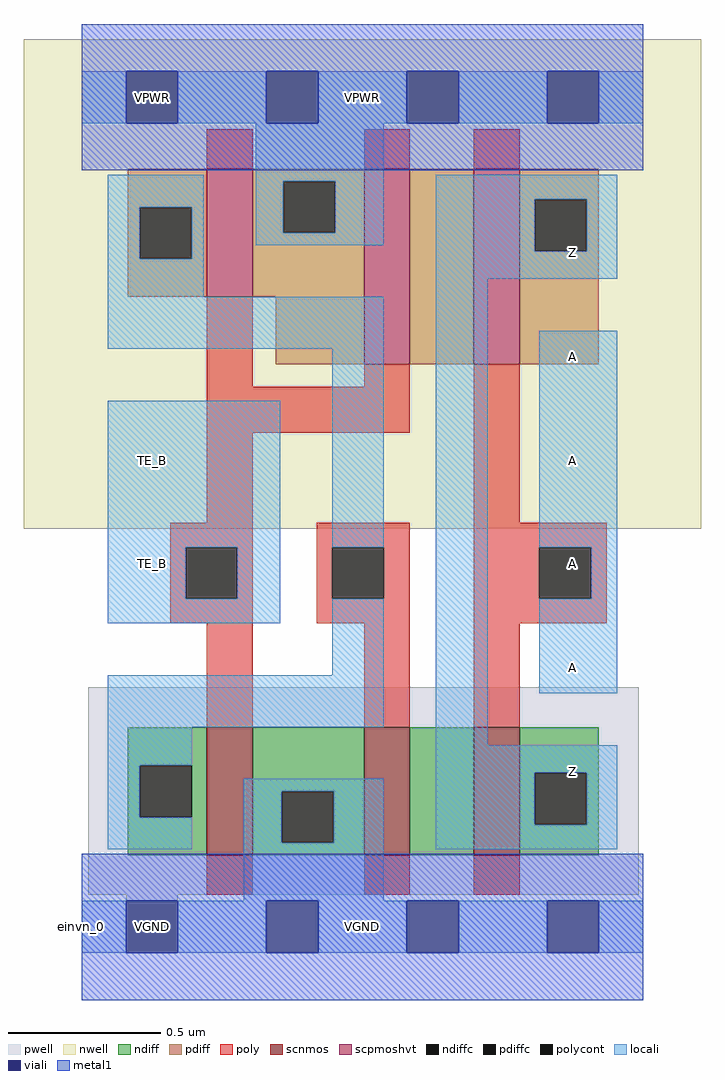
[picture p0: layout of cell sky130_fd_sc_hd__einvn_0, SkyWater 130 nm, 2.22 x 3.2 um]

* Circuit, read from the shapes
.subckt sky130_fd_sc_hd__einvn_0 A TE_B VGND VNB VPB VPWR Z
XM1 VGND TE_B n1 VNB sky130_fd_pr__nfet_01v8 w=0.42 l=0.15
XM2 n2 n1 VGND VNB sky130_fd_pr__nfet_01v8 w=0.42 l=0.15
XM3 Z A n2 VNB sky130_fd_pr__nfet_01v8 w=0.42 l=0.15
XM4 VPWR TE_B n1 VPB sky130_fd_pr__pfet_01v8_hvt w=0.42 l=0.15
XM5 n3 TE_B VPWR VPB sky130_fd_pr__pfet_01v8_hvt w=0.64 l=0.15
XM6 Z A n3 VPB sky130_fd_pr__pfet_01v8_hvt w=0.64 l=0.15
.ends

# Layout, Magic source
magic
tech sky130B
magscale 1 2
<< nwell >>
rect -38 261 406 582
<< pwell >>
rect 4 21 365 157
rect 29 -17 63 21
<< scnmos >>
rect 82 47 112 131
rect 185 47 215 131
rect 257 47 287 131
<< scpmoshvt >>
rect 82 413 112 497
rect 185 369 215 497
rect 257 369 287 497
<< ndiff >>
rect 30 106 82 131
rect 30 72 38 106
rect 72 72 82 106
rect 30 47 82 72
rect 112 89 185 131
rect 112 55 131 89
rect 165 55 185 89
rect 112 47 185 55
rect 215 47 257 131
rect 287 101 339 131
rect 287 67 297 101
rect 331 67 339 101
rect 287 47 339 67
<< pdiff >>
rect 30 472 82 497
rect 30 438 38 472
rect 72 438 82 472
rect 30 413 82 438
rect 112 489 185 497
rect 112 455 132 489
rect 166 455 185 489
rect 112 413 185 455
rect 127 369 185 413
rect 215 369 257 497
rect 287 477 339 497
rect 287 443 297 477
rect 331 443 339 477
rect 287 369 339 443
<< ndiffc >>
rect 38 72 72 106
rect 131 55 165 89
rect 297 67 331 101
<< pdiffc >>
rect 38 438 72 472
rect 132 455 166 489
rect 297 443 331 477
<< poly >>
rect 82 497 112 523
rect 185 497 215 523
rect 257 497 287 523
rect 82 354 112 413
rect 185 354 215 369
rect 82 324 215 354
rect 82 265 112 324
rect 257 265 287 369
rect 58 249 112 265
rect 58 215 68 249
rect 102 215 112 249
rect 58 199 112 215
rect 154 249 215 265
rect 154 215 164 249
rect 198 215 215 249
rect 154 199 215 215
rect 82 131 112 199
rect 185 131 215 199
rect 257 249 344 265
rect 257 215 300 249
rect 334 215 344 249
rect 257 199 344 215
rect 257 131 287 199
rect 82 21 112 47
rect 185 21 215 47
rect 257 21 287 47
<< polycont >>
rect 68 215 102 249
rect 164 215 198 249
rect 300 215 334 249
<< locali >>
rect 0 527 29 561
rect 63 527 121 561
rect 155 527 213 561
rect 247 527 305 561
rect 339 527 368 561
rect 17 472 80 493
rect 17 438 38 472
rect 72 438 80 472
rect 114 489 198 527
rect 114 455 132 489
rect 166 455 198 489
rect 114 447 198 455
rect 232 477 351 493
rect 17 413 80 438
rect 232 443 297 477
rect 331 443 351 477
rect 232 425 351 443
rect 17 379 198 413
rect 17 249 130 345
rect 17 215 68 249
rect 102 215 130 249
rect 17 199 130 215
rect 164 249 198 379
rect 164 165 198 215
rect 17 131 198 165
rect 17 106 72 131
rect 17 72 38 106
rect 232 119 266 425
rect 300 249 351 391
rect 334 215 351 249
rect 300 153 351 215
rect 232 101 351 119
rect 17 51 72 72
rect 106 89 198 97
rect 106 55 131 89
rect 165 55 198 89
rect 106 17 198 55
rect 232 67 297 101
rect 331 67 351 101
rect 232 51 351 67
rect 0 -17 29 17
rect 63 -17 121 17
rect 155 -17 213 17
rect 247 -17 305 17
rect 339 -17 368 17
<< viali >>
rect 29 527 63 561
rect 121 527 155 561
rect 213 527 247 561
rect 305 527 339 561
rect 29 -17 63 17
rect 121 -17 155 17
rect 213 -17 247 17
rect 305 -17 339 17
<< metal1 >>
rect 0 561 368 592
rect 0 527 29 561
rect 63 527 121 561
rect 155 527 213 561
rect 247 527 305 561
rect 339 527 368 561
rect 0 496 368 527
rect 0 17 368 48
rect 0 -17 29 17
rect 63 -17 121 17
rect 155 -17 213 17
rect 247 -17 305 17
rect 339 -17 368 17
rect 0 -48 368 -17
<< labels >>
flabel locali s 305 357 339 391 0 FreeSans 200 0 0 0 A
port 1 nsew signal input
flabel locali s 305 289 339 323 0 FreeSans 200 0 0 0 A
port 1 nsew signal input
flabel locali s 29 221 63 255 0 FreeSans 200 0 0 0 TE_B
port 2 nsew signal input
flabel locali s 29 289 63 323 0 FreeSans 200 0 0 0 TE_B
port 2 nsew signal input
flabel locali s 305 221 339 255 0 FreeSans 200 0 0 0 A
port 1 nsew signal input
flabel locali s 305 153 339 187 0 FreeSans 200 0 0 0 A
port 1 nsew signal input
flabel locali s 305 425 339 459 0 FreeSans 200 0 0 0 Z
port 7 nsew signal output
flabel locali s 305 85 339 119 0 FreeSans 200 0 0 0 Z
port 7 nsew signal output
flabel metal1 s 29 527 63 561 0 FreeSans 200 0 0 0 VPWR
port 6 nsew power bidirectional abutment
flabel metal1 s 29 -17 63 17 0 FreeSans 200 0 0 0 VGND
port 3 nsew ground bidirectional abutment
flabel nwell s 29 527 63 561 0 FreeSans 200 0 0 0 VPB
port 5 nsew power bidirectional
flabel pwell s 29 -17 63 17 0 FreeSans 200 0 0 0 VNB
port 4 nsew ground bidirectional
rlabel comment s 0 0 0 0 4 einvn_0
rlabel metal1 s 0 -48 368 48 1 VGND
port 3 nsew ground bidirectional abutment
rlabel metal1 s 0 496 368 592 1 VPWR
port 6 nsew power bidirectional abutment
<< properties >>
string FIXED_BBOX 0 0 368 544
string GDS_END 2945324
string GDS_FILE $PDKPATH/libs.ref/sky130_fd_sc_hd/gds/sky130_fd_sc_hd.gds
string GDS_START 2941082
string LEFclass CORE
string LEFsite unithd
string LEFsymmetry X Y R90
string path 0.000 13.600 9.200 13.600 
<< end >>
